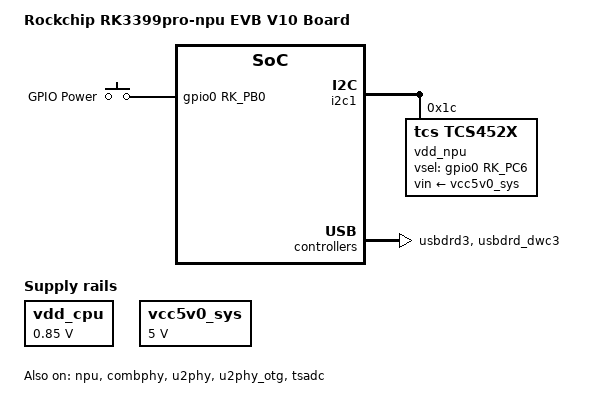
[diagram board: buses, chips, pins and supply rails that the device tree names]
// SPDX-License-Identifier: (GPL-2.0+ OR MIT)
/*
 * Copyright (c) 2018 Fuzhou Rockchip Electronics Co., Ltd
 */

/dts-v1/;
#include <dt-bindings/gpio/gpio.h>
#include <dt-bindings/pinctrl/rockchip.h>
#include "rk3399pro-npu.dtsi"

/ {
	model = "Rockchip RK3399pro-npu EVB V10 Board";
	compatible = "rockchip,rk3399pro-npu-evb-v10", "rockchip,rk3399pro-npu";

	chosen {
		bootargs = "earlycon=uart8250,mmio32,0xff550000 console=ttyFIQ0 init=/init kpti=0";
	};

	keys: gpio-keys {
		compatible = "gpio-keys";
		pinctrl-names = "default";
		pinctrl-0 = <&pwr_key>;

		power {
			gpios = <&gpio0 RK_PB0 GPIO_ACTIVE_HIGH>;
			label = "GPIO Power";
			linux,code = <116>;
			wakeup-source;
		};
	};

	fiq-debugger {
		compatible = "rockchip,fiq-debugger";
		rockchip,serial-id = <2>;
		rockchip,wake-irq = <0>;
		/* If enable uart uses irq instead of fiq */
		rockchip,irq-mode-enable = <0>;
		rockchip,baudrate = <1500000>;  /* Only 115200 and 1500000 */
		interrupts = <GIC_SPI 242 IRQ_TYPE_LEVEL_HIGH>;
		pinctrl-names = "default";
		pinctrl-0 = <&uart2m0_xfer>;
		status = "okay";
	};

	vdd_cpu: vdd-cpu {
		compatible = "regulator-fixed";
		regulator-name = "vdd_cpu";
		regulator-always-on;
		regulator-boot-on;
		regulator-min-microvolt = <850000>;
		regulator-max-microvolt = <850000>;
	};

	vcc5v0_sys: vcc5v0-sys {
		compatible = "regulator-fixed";
		regulator-name = "vcc5v0_sys";
		regulator-always-on;
		regulator-boot-on;
		regulator-min-microvolt = <5000000>;
		regulator-max-microvolt = <5000000>;
	};
};

&cpu0 {
	cpu-supply = <&vdd_cpu>;
};

&cpu1 {
	cpu-supply = <&vdd_cpu>;
};

&i2c1 {
	status = "okay";

	vdd_npu: tcs452x@1c {
		compatible = "tcs,tcs452x";
		reg = <0x1c>;
		vin-supply = <&vcc5v0_sys>;
		regulator-compatible = "fan53555-reg";
		pinctrl-0 = <&vsel_gpio>;
		vsel-gpios = <&gpio0 RK_PC6 GPIO_ACTIVE_HIGH>;
		regulator-name = "vdd_npu";
		regulator-min-microvolt = <750000>;
		regulator-max-microvolt = <800000>;
		regulator-ramp-delay = <2300>;
		fcs,suspend-voltage-selector = <1>;
		regulator-always-on;
		regulator-boot-on;
		regulator-initial-state = <3>;
		regulator-state-mem {
			regulator-off-in-suspend;
		};
	};
};

&npu {
	npu-supply = <&vdd_npu>;
	status = "okay";
};

&combphy {
	status = "okay";
};

&u2phy {
	status = "okay";
};

&u2phy_otg {
	status = "okay";
};

&usbdrd3 {
	status = "okay";
};

&usbdrd_dwc3 {
	status = "okay";
};

&tsadc {
	rockchip,hw-tshut-mode = <1>; /* tshut mode 0:CRU 1:GPIO */
	rockchip,hw-tshut-polarity = <1>; /* tshut polarity 0:LOW 1:HIGH */
	pinctrl-names = "init", "default";
	pinctrl-0 = <&tsadc_otp_gpio>;
	pinctrl-1 = <&tsadc_otp_out>;
	status = "okay";
};

&pinctrl {
	vsel_gpio: vsel-gpio {
		rockchip,pins =
			<0 RK_PC6 RK_FUNC_GPIO &pcfg_pull_down>;
	};

	pwr_key: pwr-key {
		rockchip,pins =
			<0 RK_PB0 RK_FUNC_GPIO &pcfg_pull_none>;
	};
};
